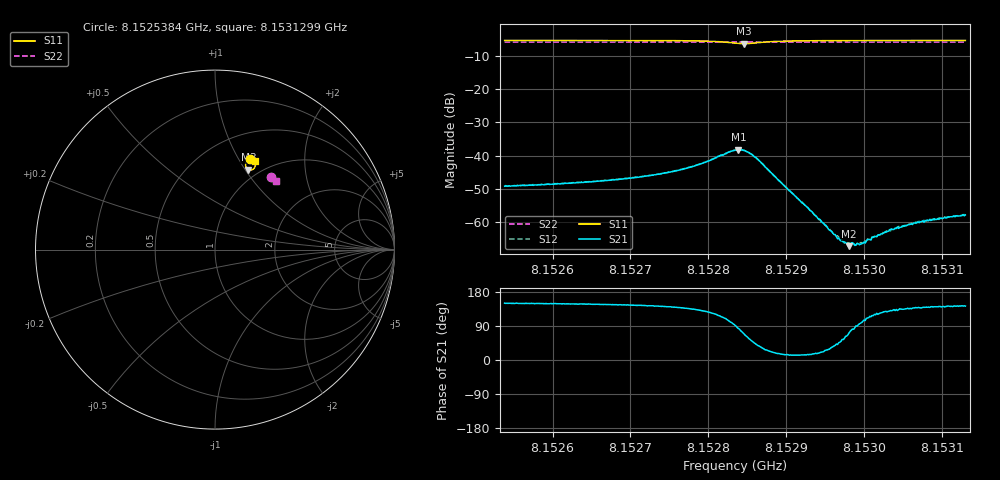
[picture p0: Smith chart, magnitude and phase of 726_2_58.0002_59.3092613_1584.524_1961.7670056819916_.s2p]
#  HZ  S  RI  R  50.00
! Rohde & Schwarz Vector Network Analyzer
! Rohde-Schwarz,ZNB20-2Port,1311601062101988,3.16
! Created: UTC 3/21/2024, 1:22:53 AM
! freq[Hz]  re:S11  im:S11  re:S21  im:S21  re:S12  im:S12  re:S22  im:S22
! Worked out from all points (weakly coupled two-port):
!   401 points, 8.1525384 GHz to 8.1531299 GHz, reference 50 ohm
!   highest |S21| = -38.22 dB at 8.1528386 GHz (marker M1); lowest = -67.2 dB at 8.1529805 GHz (marker M2)
!   lowest |S11| = -6.3 dB at 8.152846 GHz (marker M3), VSWR 2.87, Z = 44.5 + j51.8 ohm
!   |S11| at or under -10 dB: nowhere
!   |S22| runs from -5.9 to -5.8 dB; largest |S21 - S12| = 0.00045
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8.15253841e9  0.1926 0.5049  -0.003 0.00174  -0.00301 0.00177  0.3127 0.4043
8.15263748e9  0.2014 0.5013  -0.00337 0.00212  -0.00338 0.0022  0.3176 0.4002
8.15269367e9  0.2071 0.4982  -0.00371 0.00257  -0.00371 0.00264  0.3204 0.3979
8.15273656e9  0.2129 0.4945  -0.00414 0.00325  -0.00415 0.00332  0.3226 0.3959
8.15277944e9  0.2204 0.4862  -0.00477 0.00489  -0.00474 0.00498  0.3247 0.3936
8.15281493e9  0.2244 0.4659  -0.0044 0.00892  -0.00427 0.00912  0.3264 0.3915
8.15283415e9  0.2091 0.446  -0.000362 0.0121  -5.2e-05 0.0122  0.3262 0.3903
8.15283859e9  0.2011 0.4436  0.00152 0.0122  0.00162 0.0123  0.3261 0.3901
8.15284598e9  0.1865 0.4458  0.00438 0.0111  0.00455 0.0112  0.3259 0.3903
8.15285485e9  0.174 0.4572  0.00662 0.00832  0.00676 0.00814  0.3262 0.3905
8.15286373e9  0.1703 0.4709  0.00691 0.00541  0.00705 0.00516  0.3266 0.3906
8.15293323e9  0.1963 0.4982  0.00137 0.000388  0.00137 0.000331  0.3311 0.3884
8.15295984e9  0.2018 0.4984  0.000555 0.000391  0.000574 0.000364  0.3325 0.3873
8.15296724e9  0.2031 0.4982  0.0004 0.000408  0.000423 0.00042  0.3329 0.3869
8.15297315e9  0.204 0.4982  0.0003 0.000411  0.000298 0.000404  0.3331 0.3867
8.15298055e9  0.2052 0.4979  0.000138 0.000413  0.000165 0.000459  0.3336 0.3862
8.15298646e9  0.206 0.4979  7.24e-05 0.000467  4.4e-05 0.000469  0.3341 0.3862
8.15299533e9  0.2072 0.4977  -5.7e-05 0.000464  -8.02e-05 0.000486  0.3343 0.3855
8.1530323e9  0.2116 0.4967  -0.000471 0.00058  -0.00047 0.000614  0.3362 0.3841
8.15306779e9  0.2152 0.4955  -0.000723 0.000667  -0.000733 0.000676  0.3378 0.3826
8.15310328e9  0.2185 0.4945  -0.000905 0.000757  -0.000924 0.000756  0.3396 0.3811
8.1531299e9  0.2207 0.4936  -0.00101 0.000786  -0.000981 0.000789  0.3407 0.3798
